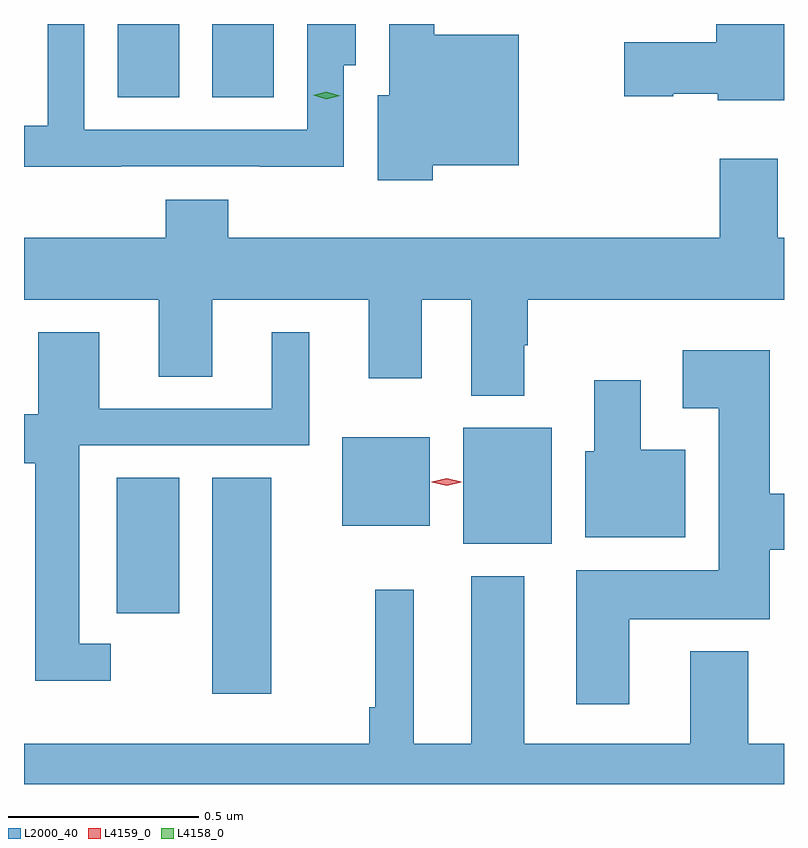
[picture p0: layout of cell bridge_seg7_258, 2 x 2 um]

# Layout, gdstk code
import gdstk
lib = gdstk.Library(unit=1e-6, precision=1e-09)
def R(c, l, rs):  # rectangles x0, y0, x1, y1
    for r in rs: c.add(gdstk.rectangle(r[:2], r[2:], *l))
def P(c, l, *ps):  # polygons
    for p in ps: c.add(gdstk.Polygon(p, *l))
L2000_40 = (2000, 40)
L4158_0 = (4158, 0)
L4159_0 = (4159, 0)

bridge_seg7_258 = lib.new_cell('bridge_seg7_258')
R(bridge_seg7_258, L2000_40, [(225.968,1047.531,226.123,1048.1), (225.716,1047.744,225.88,1048.1), (226.628,1047.926,226.861,1048.231), (226.31,1047.974,226.54,1048.207), (225.719,1049.101,225.88,1049.294), (225.968,1049.101,226.129,1049.294)])
P(bridge_seg7_258, L2000_40, [(225.727,1048.92),(226.093,1048.92),(226.093,1048.919),(226.314,1048.919),(226.314,1049.185),(226.345,1049.185),(226.345,1049.294),(226.218,1049.294),(226.218,1049.016),(225.63,1049.016),(225.63,1049.294),(225.534,1049.294),(225.534,1049.026),(225.472,1049.026),(225.472,1048.919),(225.727,1048.919)],
  [(226.547,1048.922),(226.774,1048.922),(226.774,1049.266),(226.552,1049.266),(226.552,1049.294),(226.433,1049.294),(226.433,1049.107),(226.403,1049.107),(226.403,1048.883),(226.547,1048.883)],
  [(227.472,1049.294),(227.294,1049.294),(227.294,1049.246),(227.052,1049.246),(227.052,1049.104),(227.181,1049.104),(227.181,1049.111),(227.298,1049.111),(227.298,1049.093),(227.472,1049.093)],
  [(226.789,1048.448),(226.797,1048.448),(226.797,1048.568),(227.472,1048.568),(227.472,1048.732),(227.455,1048.732),(227.455,1048.939),(227.303,1048.939),(227.303,1048.732),(226.01,1048.732),(226.01,1048.831),(225.845,1048.831),(225.845,1048.732),(225.472,1048.732),(225.472,1048.568),(225.827,1048.568),(225.827,1048.366),(225.967,1048.366),(225.967,1048.568),(226.379,1048.568),(226.379,1048.362),(226.519,1048.362),(226.519,1048.568),(226.649,1048.568),(226.649,1048.316),(226.789,1048.316)],
  [(225.7,1047.663),(225.618,1047.663),(225.618,1048.185),(226.222,1048.185),(226.222,1048.483),(226.124,1048.483),(226.124,1048.281),(225.67,1048.281),(225.67,1048.483),(225.509,1048.483),(225.509,1048.267),(225.472,1048.267),(225.472,1048.138),(225.502,1048.138),(225.502,1047.566),(225.7,1047.566)],
  [(227.065,1047.728),(227.435,1047.728),(227.435,1047.911),(227.472,1047.911),(227.472,1048.058),(227.435,1048.058),(227.435,1048.435),(227.205,1048.435),(227.205,1048.283),(227.3,1048.283),(227.3,1047.856),(226.925,1047.856),(226.925,1047.504),(227.065,1047.504)],
  [(227.212,1048.174),(227.095,1048.174),(227.095,1048.357),(226.973,1048.357),(226.973,1048.17),(226.949,1048.17),(226.949,1047.944),(227.212,1047.944)],
  [(227.472,1047.4),(227.378,1047.4),(227.378,1047.643),(227.225,1047.643),(227.225,1047.4),(226.789,1047.4),(226.789,1047.841),(226.649,1047.841),(226.649,1047.4),(226.498,1047.4),(226.498,1047.805),(226.396,1047.805),(226.396,1047.496),(226.381,1047.496),(226.381,1047.4),(225.472,1047.4),(225.472,1047.294),(227.472,1047.294)])
P(bridge_seg7_258, L4158_0, [(226.268,1049.096),(226.233,1049.107),(226.233,1049.107),(226.233,1049.107),(226.268,1049.116),(226.304,1049.105),(226.304,1049.105),(226.304,1049.105)])
P(bridge_seg7_258, L4159_0, [(226.584,1048.079),(226.545,1048.088),(226.545,1048.089),(226.545,1048.089),(226.584,1048.099),(226.623,1048.089),(226.623,1048.089),(226.623,1048.088)])

lib.write_gds('bridge_seg7_258.gds')
